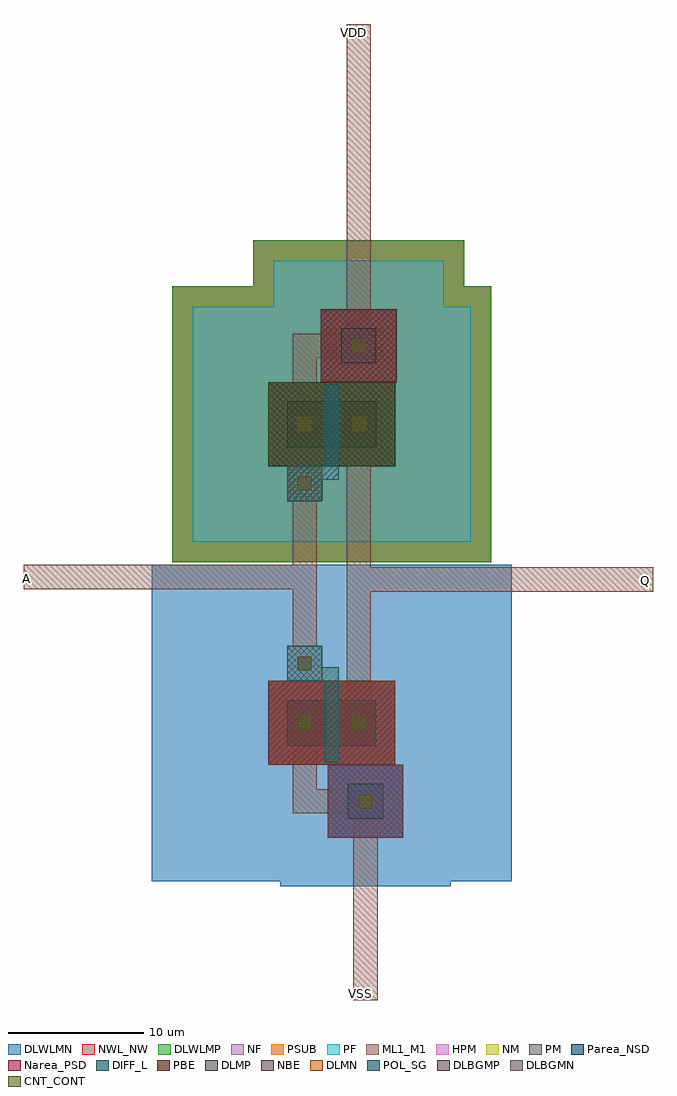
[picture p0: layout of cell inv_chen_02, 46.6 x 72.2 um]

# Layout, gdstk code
import gdstk
lib = gdstk.Library(unit=1e-6, precision=1e-07)
def R(c, l, rs):  # rectangles x0, y0, x1, y1
    for r in rs: c.add(gdstk.rectangle(r[:2], r[2:], *l))
DIFF_L = (3, 0)
NM = (7, 0)
POL_SG = (8, 0)
Narea_PSD = (9, 0)
CNT_CONT = (11, 0)
ML1_M1 = (13, 0)
NF = (25, 0)
PF = (26, 0)
Parea_NSD = (28, 0)
HPM = (33, 0)
PM = (35, 0)
NWL_NW = (36, 0)
PSUB = (140, 0)
PBE = (146, 0)
NBE = (147, 0)
DLWLMP = (150, 0)
DLWLMN = (151, 0)
DLMP = (157, 0)
DLMN = (158, 0)
DLBGMP = (177, 0)
DLBGMN = (178, 0)

dcont = lib.new_cell('dcont')
R(dcont, DIFF_L, [(-1.3,-1.3,1.3,1.3)])
R(dcont, CNT_CONT, [(-0.5,-0.5,0.5,0.5)])
R(dcont, ML1_M1, [(-1.3,-1.3,1.3,1.3), (-0.5,-0.5,0.5,0.5)])

pcont = lib.new_cell('pcont')
R(pcont, POL_SG, [(-1.3,-1.3,1.3,1.3)])
R(pcont, CNT_CONT, [(-0.5,-0.5,0.5,0.5)])
R(pcont, ML1_M1, [(-1.3,-1.3,1.3,1.3), (-0.5,-0.5,0.5,0.5)])

c_dcont = lib.new_cell('DCONT')
R(c_dcont, DIFF_L, [(-1.3,-1.3,1.3,1.3)])
R(c_dcont, CNT_CONT, [(-0.5,-0.5,0.5,0.5)])
R(c_dcont, ML1_M1, [(-1.3,-1.3,1.3,1.3), (-0.5,-0.5,0.5,0.5)])

nsubcont = lib.new_cell('nsubcont')
R(nsubcont, NM, [(-2.8,-2.7,2.8,2.7)])
R(nsubcont, Narea_PSD, [(-2.8,-2.7,2.8,2.7)])
R(nsubcont, NF, [(-6.3,-6.3,6.3,6.3)])
R(nsubcont, PF, [(-6.3,-6.3,6.3,6.3)])
R(nsubcont, HPM, [(-2.8,-2.7,2.8,2.7)])
R(nsubcont, PM, [(-2.8,-2.7,2.8,2.7)])
R(nsubcont, NWL_NW, [(-7.8,-7.8,7.8,7.8)])
R(nsubcont, PSUB, [(-6.3,-6.3,6.3,6.3)])
R(nsubcont, DLWLMP, [(-7.8,-7.8,7.8,7.8)])
R(nsubcont, DLBGMP, [(-2.8,-2.7,2.8,2.7)])
nsubcont.add(gdstk.Reference(c_dcont, (0,0)))

c_mp = lib.new_cell('MP')
R(c_mp, DIFF_L, [(0,3.6,6.6,7)])
R(c_mp, NM, [(-1.4,2.2,8,8.4)])
R(c_mp, NF, [(-7,-3.4,13.6,14)])
R(c_mp, PF, [(-7,-3.4,13.6,14)])
R(c_mp, Parea_NSD, [(-1.4,2.2,8,8.4)])
R(c_mp, HPM, [(-1.4,2.2,8,8.4)])
R(c_mp, NWL_NW, [(-8.5,-4.9,15.1,15.5)])
R(c_mp, PSUB, [(-7,-3.4,13.6,14)])
R(c_mp, PBE, [(-1.4,2.2,8,8.4)])
R(c_mp, DLWLMP, [(-8.5,-4.9,15.1,15.5)])
R(c_mp, DLMP, [(-1.4,2.2,8,8.4)])
c_mp.add(gdstk.FlexPath([(1.3,3.6),(1.3,7)], 2.6, ends="flush", simple_path=True, layer=13, datatype=0))  # ML1_M1
c_mp.add(gdstk.FlexPath([(5.3,3.6),(5.3,7)], 2.6, ends="flush", simple_path=True, layer=13, datatype=0))  # ML1_M1
c_mp.add(gdstk.FlexPath([(1.3,6),(1.3,9.3)], 1.8, ends="flush", simple_path=True, layer=13, datatype=0))  # ML1_M1
c_mp.add(gdstk.FlexPath([(5.3,1.3),(5.3,4.6)], 1.8, ends="flush", simple_path=True, layer=13, datatype=0))  # ML1_M1
c_mp.add(gdstk.FlexPath([(3.3,3.6),(3.3,7)], 1, ends=(1.2, 1.2), simple_path=True, layer=8, datatype=0))  # POL_SG
c_mp.add(gdstk.FlexPath([(1.3,1.7),(3.3,1.7),(3.3,2.4)], 1, ends="flush", simple_path=True, layer=8, datatype=0))  # POL_SG
c_mp.add(gdstk.Reference(dcont, (1.3,5.3)))
c_mp.add(gdstk.Reference(dcont, (5.3,5.3)))
c_mp.add(gdstk.Reference(pcont, (1.3,0.9)))
c_mp.add(gdstk.Reference(nsubcont, (5.3,11.1)))

psubcont = lib.new_cell('psubcont')
R(psubcont, NM, [(-2.8,-2.7,2.8,2.7)])
R(psubcont, Parea_NSD, [(-2.8,-2.7,2.8,2.7)])
R(psubcont, HPM, [(-2.8,-2.7,2.8,2.7)])
R(psubcont, PM, [(-2.8,-2.7,2.8,2.7)])
R(psubcont, DLWLMN, [(-6.3,-6.3,6.3,6.3)])
R(psubcont, DLBGMN, [(-2.8,-2.7,2.8,2.7)])
psubcont.add(gdstk.Reference(c_dcont, (0,0)))

mn_1 = lib.new_cell('MN$1')
R(mn_1, DIFF_L, [(0,3.6,6.6,7)])
R(mn_1, Narea_PSD, [(-1.4,2.2,8,8.4)])
R(mn_1, HPM, [(-1.4,2.2,8,8.4)])
R(mn_1, PM, [(-1.4,2.2,8,8.4)])
R(mn_1, NBE, [(-1.4,2.2,8,8.4)])
R(mn_1, DLWLMN, [(-10,-6.4,16.6,17)])
R(mn_1, DLMN, [(-1.4,2.2,8,8.4)])
mn_1.add(gdstk.FlexPath([(1.3,3.6),(1.3,7)], 2.6, ends="flush", simple_path=True, layer=13, datatype=0))  # ML1_M1
mn_1.add(gdstk.FlexPath([(5.3,3.6),(5.3,7)], 2.6, ends="flush", simple_path=True, layer=13, datatype=0))  # ML1_M1
mn_1.add(gdstk.FlexPath([(1.3,1.3),(1.3,4.6)], 1.8, ends="flush", simple_path=True, layer=13, datatype=0))  # ML1_M1
mn_1.add(gdstk.FlexPath([(5.3,6),(5.3,9.3)], 1.8, ends="flush", simple_path=True, layer=13, datatype=0))  # ML1_M1
mn_1.add(gdstk.FlexPath([(3.3,3.6),(3.3,7)], 1, ends=(1.2, 1.2), simple_path=True, layer=8, datatype=0))  # POL_SG
mn_1.add(gdstk.FlexPath([(1.3,8.9),(3.3,8.9),(3.3,8.2)], 1, ends="flush", simple_path=True, layer=8, datatype=0))  # POL_SG
mn_1.add(gdstk.Reference(dcont, (1.3,5.3)))
mn_1.add(gdstk.Reference(dcont, (5.3,5.3)))
mn_1.add(gdstk.Reference(pcont, (1.3,9.7)))
mn_1.add(gdstk.Reference(psubcont, (5.8,-0.5)))

inv_chen_02 = lib.new_cell('inv_chen_02')
inv_chen_02.add(gdstk.FlexPath([(18.4,39.4),(18.4,63.2)], 1.8, ends="flush", simple_path=True, layer=13, datatype=0))  # ML1_M1
inv_chen_02.add(gdstk.FlexPath([(18.4,39.4),(14.4,39.4),(14.4,37.5)], 1.8, ends="flush", simple_path=True, layer=13, datatype=0))  # ML1_M1
inv_chen_02.add(gdstk.FlexPath([(18.4,29.8),(18.4,15.3)], 1.8, ends="flush", simple_path=True, layer=13, datatype=0))  # ML1_M1
inv_chen_02.add(gdstk.FlexPath([(18.4,22.1),(40.2,22.1)], 1.8, ends="flush", simple_path=True, layer=13, datatype=0))  # ML1_M1
inv_chen_02.add(gdstk.FlexPath([(14.4,29.2),(14.4,15.9)], 1.8, ends="flush", simple_path=True, layer=13, datatype=0))  # ML1_M1
inv_chen_02.add(gdstk.FlexPath([(14.4,22.3),(-6.4,22.3)], 1.8, ends="flush", simple_path=True, layer=13, datatype=0))  # ML1_M1
inv_chen_02.add(gdstk.FlexPath([(18.9,5.7),(14.4,5.7),(14.4,7.7)], 1.8, ends="flush", simple_path=True, layer=13, datatype=0))  # ML1_M1
inv_chen_02.add(gdstk.FlexPath([(18.9,5.7),(18.9,-9)], 1.8, ends="flush", simple_path=True, layer=13, datatype=0))  # ML1_M1
inv_chen_02.add(gdstk.Reference(c_mp, (13.1,28.3)))
inv_chen_02.add(gdstk.Reference(mn_1, (13.1,6.2)))
inv_chen_02.add(gdstk.Label('A', (-6.2,22.2), layer=13, texttype=0))
inv_chen_02.add(gdstk.Label('Q', (39.6,22), layer=13, texttype=0))
inv_chen_02.add(gdstk.Label('VDD', (18,62.6), layer=13, texttype=0))
inv_chen_02.add(gdstk.Label('VSS', (18.5,-8.5), layer=13, texttype=0))

lib.write_gds('inv_chen_02.gds')
